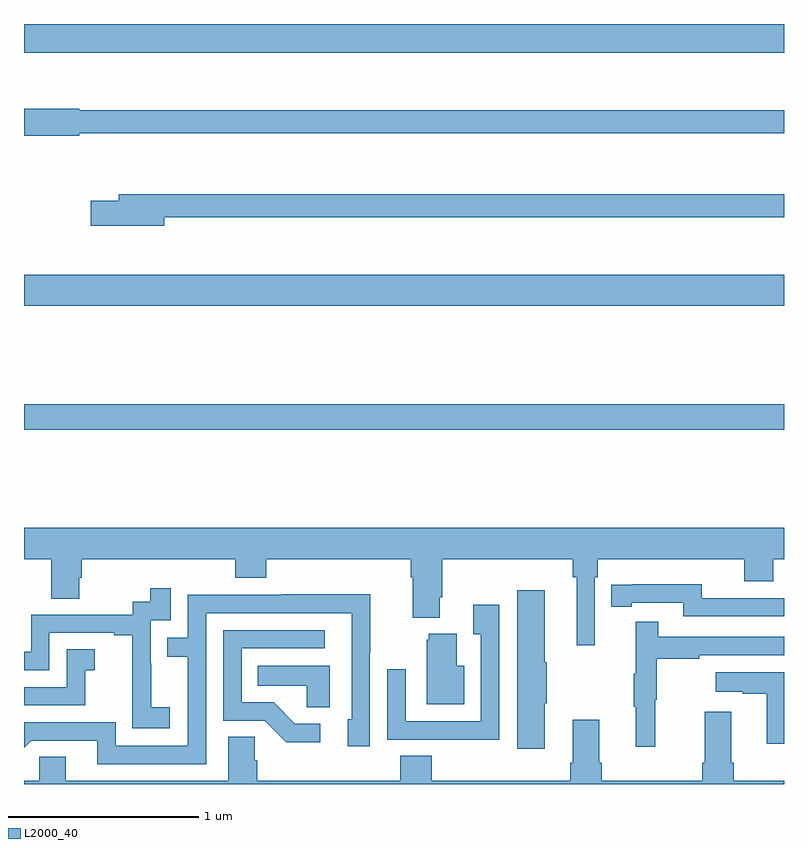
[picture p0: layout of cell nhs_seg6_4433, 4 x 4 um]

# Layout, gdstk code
import gdstk
lib = gdstk.Library(unit=1e-6, precision=1e-09)
def R(c, l, rs):  # rectangles x0, y0, x1, y1
    for r in rs: c.add(gdstk.rectangle(r[:2], r[2:], *l))
def P(c, l, *ps):  # polygons
    for p in ps: c.add(gdstk.Polygon(p, *l))
L2000_40 = (2000, 40)

nhs_seg6_4433 = lib.new_cell('nhs_seg6_4433')
R(nhs_seg6_4433, L2000_40, [(373,933.364,377,933.5), (373,934.016,377,934.18), (373,935.348,377,935.5)])
P(nhs_seg6_4433, L2000_40, [(373.29,934.926),(377,934.926),(377,935.047),(373.29,935.047),(373.29,935.055),(373,935.055),(373,934.913),(373.29,934.913)],
  [(373.738,934.482),(377,934.482),(377,934.603),(373.499,934.603),(373.499,934.569),(373.35,934.569),(373.35,934.439),(373.738,934.439)],
  [(373,932.684),(373.144,932.684),(373.144,932.476),(373.291,932.476),(373.291,932.586),(373.304,932.586),(373.304,932.684),(374.111,932.684),(374.111,932.585),(374.276,932.585),(374.276,932.684),(375.035,932.684),(375.035,932.588),(375.047,932.588),(375.047,932.375),(375.187,932.375),(375.187,932.482),(375.2,932.482),(375.2,932.684),(375.889,932.684),(375.889,932.588),(375.908,932.588),(375.908,932.229),(376.005,932.229),(376.005,932.588),(376.019,932.588),(376.019,932.684),(376.79,932.684),(376.79,932.567),(376.943,932.567),(376.943,932.684),(377,932.684),(377,932.848),(373,932.848)],
  [(377,932.478),(376.566,932.478),(376.566,932.551),(376.198,932.551),(376.198,932.55),(376.09,932.55),(376.09,932.434),(376.198,932.434),(376.198,932.454),(376.47,932.454),(376.47,932.382),(377,932.382)],
  [(373.768,931.903),(373.67,931.903),(373.67,932.132),(373.668,932.132),(373.668,932.361),(373.773,932.361),(373.773,932.53),(373.665,932.53),(373.665,932.46),(373.572,932.46),(373.572,932.391),(373.038,932.391),(373.038,932.196),(373,932.196),(373,932.1),(373.134,932.1),(373.134,932.295),(373.475,932.295),(373.475,932.283),(373.571,932.283),(373.571,931.999),(373.57,931.999),(373.57,931.793),(373.768,931.793)],
  [(375.742,931.924),(375.75,931.924),(375.75,932.141),(375.742,932.141),(375.742,932.521),(375.596,932.521),(375.596,931.686),(375.742,931.686)],
  [(373.959,932.4),(374.724,932.4),(374.724,931.842),(374.705,931.842),(374.705,931.698),(374.82,931.698),(374.82,932.191),(374.823,932.191),(374.823,932.498),(374.359,932.498),(374.359,932.496),(373.863,932.496),(373.863,932.271),(373.753,932.271),(373.753,932.17),(373.863,932.17),(373.863,931.701),(373.482,931.701),(373.482,931.824),(373,931.824),(373,931.69),(373.038,931.728),(373.385,931.728),(373.385,931.605),(373.959,931.605)],
  [(375.501,932.443),(375.365,932.443),(375.365,932.287),(375.405,932.287),(375.405,931.83),(375.009,931.83),(375.009,932.104),(374.913,932.104),(374.913,931.734),(375.229,931.734),(375.229,931.733),(375.501,931.733)],
  [(376.322,931.944),(376.33,931.944),(376.33,932.158),(376.553,932.158),(376.553,932.178),(377,932.178),(377,932.274),(376.337,932.274),(376.337,932.353),(376.22,932.353),(376.22,932.081),(376.209,932.081),(376.209,931.907),(376.22,931.907),(376.22,931.695),(376.322,931.695)],
  [(374.56,931.818),(374.425,931.818),(374.314,931.929),(374.145,931.929),(374.145,932.214),(374.584,932.214),(374.584,932.31),(374.049,932.31),(374.049,931.833),(374.268,931.833),(374.381,931.721),(374.56,931.721)],
  [(375.316,932.122),(375.277,932.122),(375.277,932.29),(375.131,932.29),(375.131,932.259),(375.119,932.259),(375.119,931.919),(375.316,931.919)],
  [(373.323,932.099),(373.372,932.099),(373.372,932.209),(373.224,932.209),(373.224,932.01),(373,932.01),(373,931.914),(373.323,931.914)],
  [(374.608,932.122),(374.23,932.122),(374.23,932.018),(374.487,932.018),(374.487,931.903),(374.608,931.903)],
  [(377,932.089),(376.641,932.089),(376.641,931.985),(376.784,931.985),(376.784,931.975),(376.91,931.975),(376.91,931.713),(377,931.713)],
  [(376.027,931.612),(376.027,931.837),(375.887,931.837),(375.887,931.612),(375.875,931.612),(375.875,931.516),(375.146,931.516),(375.146,931.649),(374.981,931.649),(374.981,931.516),(374.228,931.516),(374.228,931.625),(374.214,931.625),(374.214,931.748),(374.075,931.748),(374.075,931.516),(373.219,931.516),(373.219,931.643),(373.08,931.643),(373.08,931.516),(373,931.516),(373,931.5),(377,931.5),(377,931.516),(376.736,931.516),(376.736,931.612),(376.723,931.612),(376.723,931.879),(376.583,931.879),(376.583,931.612),(376.571,931.612),(376.571,931.516),(376.04,931.516),(376.04,931.612)])

lib.write_gds('nhs_seg6_4433.gds')
